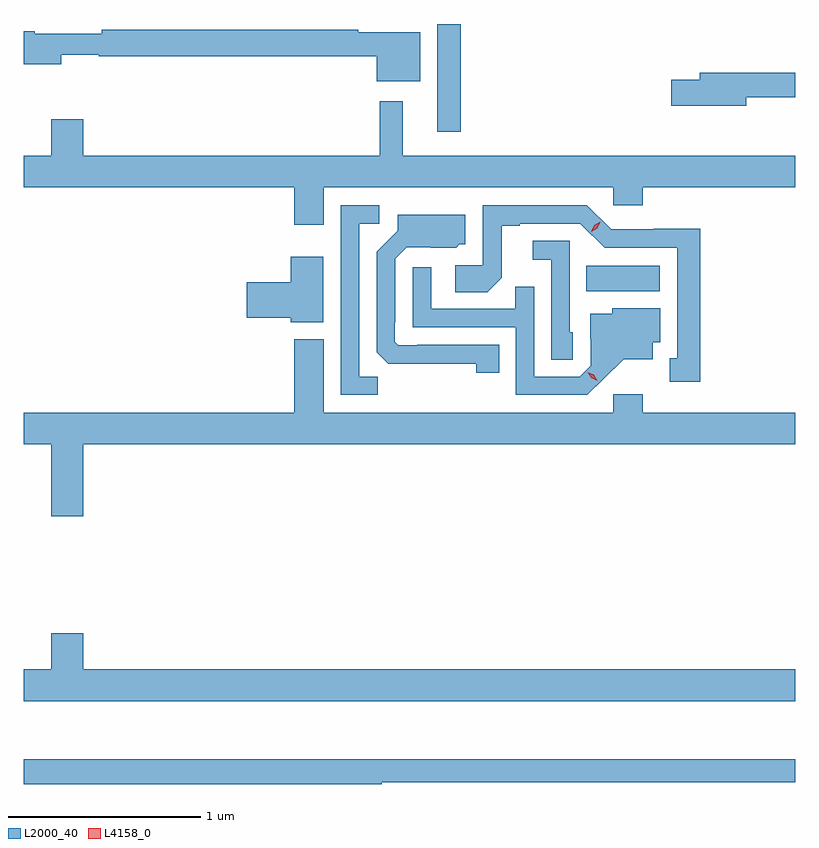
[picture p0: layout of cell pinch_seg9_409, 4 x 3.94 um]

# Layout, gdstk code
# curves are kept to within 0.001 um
import gdstk
lib = gdstk.Library(unit=1e-6, precision=1e-09)
def R(c, l, rs):  # rectangles x0, y0, x1, y1
    for r in rs: c.add(gdstk.rectangle(r[:2], r[2:], *l))
def P(c, l, *ps):  # polygons
    for p in ps: c.add(gdstk.Polygon(p, *l))
L2000_40 = (2000, 40)
L4158_0 = (4158, 0)

pinch_seg9_409 = lib.new_cell('pinch_seg9_409')
R(pinch_seg9_409, L2000_40, [(227.722,1229.18,228.103,1229.314), (226.949,1230.009,227.071,1230.567)])
P(pinch_seg9_409, L2000_40, [(226.861,1230.523),(226.538,1230.523),(226.538,1230.536),(225.208,1230.536),(225.208,1230.517),(224.863,1230.517),(224.863,1230.53),(224.805,1230.53),(224.805,1230.358),(224.998,1230.358),(224.998,1230.408),(225.194,1230.408),(225.194,1230.4),(226.634,1230.4),(226.634,1230.269),(226.861,1230.269)],
  [(228.55,1230.186),(228.805,1230.186),(228.805,1230.314),(228.311,1230.314),(228.311,1230.278),(228.162,1230.278),(228.162,1230.143),(228.55,1230.143)],
  [(226.36,1229.72),(227.862,1229.72),(227.862,1229.627),(228.014,1229.627),(228.014,1229.72),(228.805,1229.72),(228.805,1229.884),(226.771,1229.884),(226.771,1230.166),(226.65,1230.166),(226.65,1229.884),(225.112,1229.884),(225.112,1230.073),(224.948,1230.073),(224.948,1229.884),(224.805,1229.884),(224.805,1229.72),(226.208,1229.72),(226.208,1229.526),(226.36,1229.526)],
  [(226.641,1228.739),(226.545,1228.739),(226.545,1229.532),(226.648,1229.532),(226.648,1229.628),(226.449,1229.628),(226.449,1228.644),(226.641,1228.644)],
  [(228.313,1229.504),(228.072,1229.504),(228.072,1229.502),(227.85,1229.502),(227.724,1229.628),(227.184,1229.628),(227.184,1229.316),(227.043,1229.316),(227.043,1229.176),(227.207,1229.176),(227.283,1229.252),(227.283,1229.52),(227.377,1229.52),(227.377,1229.532),(227.691,1229.532),(227.817,1229.406),(228.194,1229.406),(228.194,1228.833),(228.155,1228.833),(228.155,1228.713),(228.313,1228.713)],
  [(227.27,1228.905),(226.846,1228.905),(226.846,1228.902),(226.746,1228.902),(226.728,1228.92),(226.728,1229.02),(226.731,1229.02),(226.731,1229.349),(226.791,1229.409),(227.048,1229.408),(227.064,1229.424),(227.095,1229.424),(227.095,1229.578),(226.745,1229.578),(226.745,1229.496),(226.635,1229.386),(226.635,1228.864),(226.694,1228.805),(227.152,1228.804),(227.152,1228.758),(227.27,1228.758)],
  [(227.652,1228.968),(227.637,1228.968),(227.637,1229.442),(227.445,1229.442),(227.445,1229.345),(227.541,1229.345),(227.541,1228.825),(227.652,1228.825)],
  [(226.357,1229.359),(226.19,1229.359),(226.19,1229.228),(225.96,1229.228),(225.96,1229.045),(226.19,1229.045),(226.19,1229.021),(226.357,1229.021)],
  [(227.812,1228.727),(227.915,1228.829),(228.067,1228.829),(228.067,1228.916),(228.106,1228.916),(228.106,1229.092),(227.856,1229.092),(227.856,1229.065),(227.741,1229.065),(227.741,1228.936),(227.745,1228.936),(227.745,1228.794),(227.688,1228.737),(227.451,1228.737),(227.451,1229.204),(227.353,1229.204),(227.353,1229.091),(226.917,1229.091),(226.917,1229.305),(226.821,1229.305),(226.821,1228.995),(227.355,1228.995),(227.355,1228.644),(227.728,1228.644)],
  [(225.112,1228.388),(228.805,1228.388),(228.805,1228.552),(228.014,1228.552),(228.014,1228.648),(227.862,1228.648),(227.862,1228.552),(226.36,1228.552),(226.36,1228.933),(226.208,1228.933),(226.208,1228.552),(224.805,1228.552),(224.805,1228.388),(224.948,1228.388),(224.948,1228.014),(225.112,1228.014)],
  [(228.805,1227.22),(225.112,1227.22),(225.112,1227.409),(224.948,1227.409),(224.948,1227.22),(224.805,1227.22),(224.805,1227.056),(228.805,1227.056)],
  [(226.66,1226.634),(228.805,1226.634),(228.805,1226.755),(224.805,1226.755),(224.805,1226.626),(226.66,1226.626)])
P(pinch_seg9_409, L4158_0, [(227.747,1229.49),(227.747,1229.49),(227.764,1229.523),(227.795,1229.542),(227.795,1229.542),(227.795,1229.542),(227.778,1229.509),(227.747,1229.49)],
  [(227.778,1228.718),(227.747,1228.733),(227.73,1228.762),(227.73,1228.762),(227.73,1228.762),(227.761,1228.748),(227.779,1228.718),(227.779,1228.718)])

lib.write_gds('pinch_seg9_409.gds')
